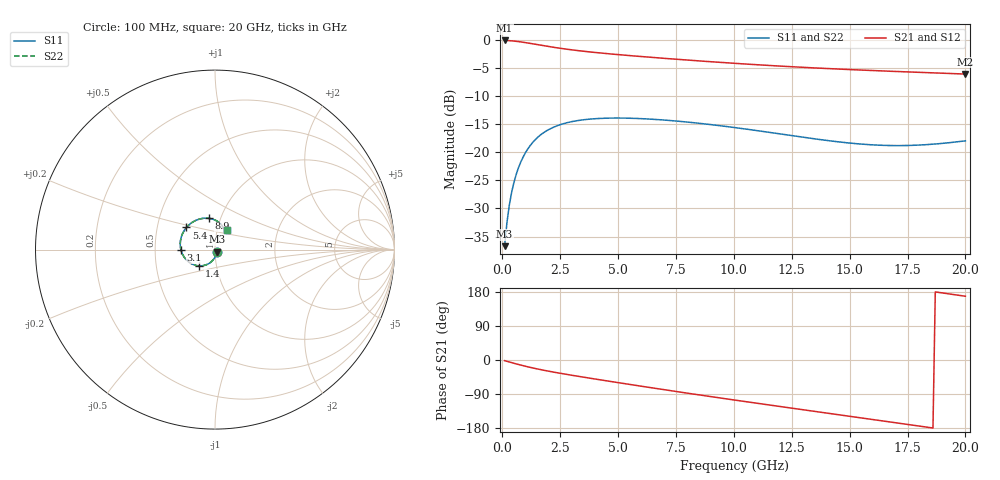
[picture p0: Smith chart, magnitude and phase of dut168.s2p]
! Created with skrf 1.9.0 (http://scikit-rf.org).
# GHz S RI R 50.0
!freq ReS11 ImS11 ReS21 ImS21 ReS12 ImS12 ReS22 ImS22
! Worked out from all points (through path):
!   200 points, 100 MHz to 20 GHz, reference 50 ohm
!   highest |S21| = -0.09 dB at 100 MHz (marker M1); lowest = -6.1 dB at 20 GHz (marker M2)
!   group delay of S21, straight-line fit = 25.2 ps
!   lowest |S11| = -36.7 dB at 100 MHz (marker M3), VSWR 1.03, Z = 50.9 - j1.16 ohm
!   |S11| at or under -10 dB: start of sweep to end of sweep
!   |S22| runs from -36.7 to -13.9 dB; largest |S21 - S12| = 2e-15
!   S11 on the Smith chart (normalised r, x): 100 MHz: 1.02, -0.02; 1.4 GHz: 0.82, -0.15; 3.1 GHz: 0.68, -0.01; 5.4 GHz: 0.71, +0.18; 8.9 GHz: 0.88, +0.32; 20 GHz: 1.12, +0.24
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0.1  0.0092 -0.0113  0.9891 -0.0304  0.9891 -0.0304  0.0092 -0.0113
0.2  0.00709 -0.0225  0.9861 -0.0605  0.9861 -0.0605  0.00709 -0.0225
0.3  0.0036 -0.0333  0.9812 -0.0901  0.9812 -0.0901  0.0036 -0.0333
0.4  -0.00123 -0.0436  0.9746 -0.1189  0.9746 -0.1189  -0.00123 -0.0436
0.6  -0.0145 -0.0618  0.9568 -0.1737  0.9568 -0.1737  -0.0145 -0.0618
0.9  -0.0408 -0.0812  0.9214 -0.2473  0.9214 -0.2473  -0.0408 -0.0812
1.1  -0.0606 -0.0883  0.8939 -0.2902  0.8939 -0.2902  -0.0606 -0.0883
1.4  -0.0906 -0.0906  0.8499 -0.3457  0.8499 -0.3457  -0.0906 -0.0906
1.7  -0.1182 -0.0845  0.8049 -0.392  0.8049 -0.392  -0.1182 -0.0845
2.1  -0.1486 -0.0672  0.7461 -0.4426  0.7461 -0.4426  -0.1486 -0.0672
3.1  -0.1892 -0.00365  0.6099 -0.5351  0.6099 -0.5351  -0.1892 -0.00365
3.5  -0.1934 0.023  0.5587 -0.5635  0.5587 -0.5635  -0.1934 0.023
5.4  -0.159 0.1235  0.3249 -0.652  0.3249 -0.652  -0.159 0.1235
6.8  -0.1083 0.1621  0.16 -0.672  0.16 -0.672  -0.1083 0.1621
8.9  -0.0341 0.1742  -0.0637 -0.6389  -0.0637 -0.6389  -0.0341 0.1742
10.1  -0.00142 0.1654  -0.1735 -0.5931  -0.1735 -0.5931  -0.00142 0.1654
11.8  0.0297 0.1447  -0.3035 -0.5038  -0.3035 -0.5038  0.0297 0.1447
13.4  0.0446 0.1248  -0.3977 -0.4009  -0.3977 -0.4009  0.0446 0.1248
15.1  0.0503 0.1093  -0.4674 -0.2778  -0.4674 -0.2778  0.0503 0.1093
16.7  0.052 0.1025  -0.5039 -0.1542  -0.5039 -0.1542  0.052 0.1025
18.3  0.0557 0.1028  -0.5112 -0.0283  -0.5112 -0.0283  0.0557 0.1028
20  0.0667 0.1074  -0.4866 0.1013  -0.4866 0.1013  0.0667 0.1074
